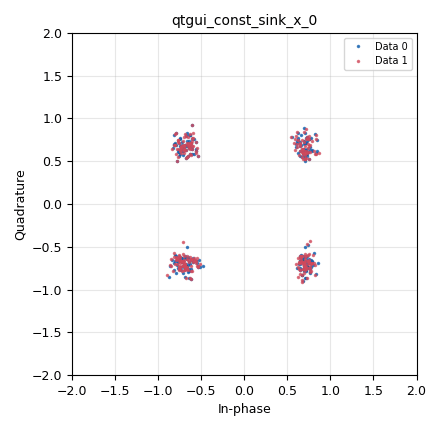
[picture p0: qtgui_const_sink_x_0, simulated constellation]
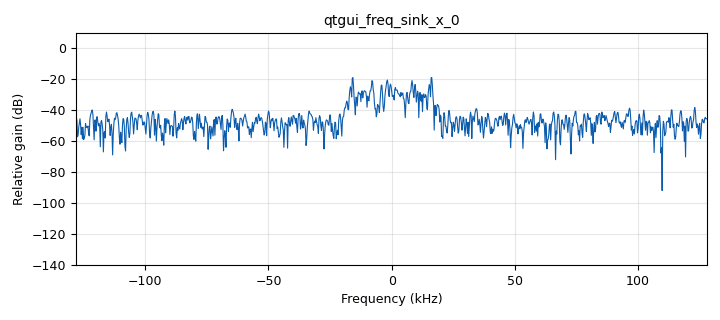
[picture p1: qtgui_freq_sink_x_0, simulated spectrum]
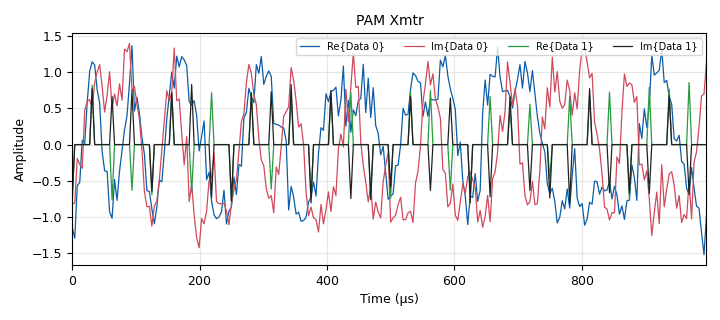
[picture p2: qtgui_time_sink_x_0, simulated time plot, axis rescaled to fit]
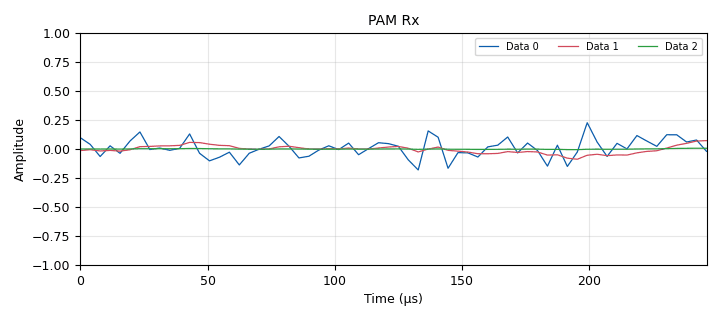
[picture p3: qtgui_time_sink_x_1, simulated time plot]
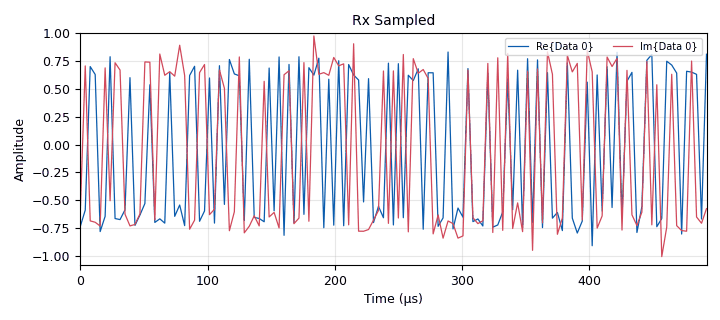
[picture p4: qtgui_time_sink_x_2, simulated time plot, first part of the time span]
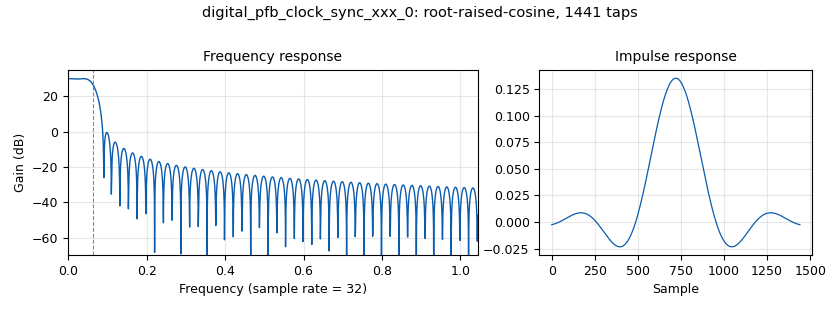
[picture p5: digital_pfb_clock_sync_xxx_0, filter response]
<?xml version='1.0' encoding='utf-8'?>
<?grc format='1' created='3.7.9'?>
<flow_graph>
<block>
<key>options</key>
<param><key>id</key><value>top_block</value></param>
<param><key>category</key><value>Custom</value></param>
<param><key>generate_options</key><value>qt_gui</value></param>
</block>
<block>
<key>variable_qtgui_range</key>
<param><key>id</key><value>An</value></param>
<param><key>value</key><value>0.3</value></param>
<param><key>orient</key><value>Qt.Horizontal</value></param>
<param><key>start</key><value>0</value></param>
<param><key>step</key><value>0.01</value></param>
<param><key>stop</key><value>2</value></param>
</block>
<block>
<key>variable_qtgui_range</key>
<param><key>id</key><value>G</value></param>
<param><key>value</key><value>1</value></param>
<param><key>orient</key><value>Qt.Horizontal</value></param>
<param><key>start</key><value>0</value></param>
<param><key>step</key><value>0.1</value></param>
<param><key>stop</key><value>2</value></param>
</block>
<block>
<key>variable_qtgui_range</key>
<param><key>id</key><value>bit_dly</value></param>
<param><key>value</key><value>104</value></param>
<param><key>orient</key><value>Qt.Horizontal</value></param>
<param><key>start</key><value>0</value></param>
<param><key>step</key><value>1</value></param>
<param><key>stop</key><value>200</value></param>
<param><key>rangeType</key><value>int</value></param>
</block>
<block>
<key>variable_constellation_rect</key>
<param><key>id</key><value>bpsk_const</value></param>
<param><key>const_points</key><value>[-1,1]</value></param>
<param><key>imag_sect</key><value>2</value></param>
<param><key>real_sect</key><value>2</value></param>
<param><key>rot_sym</key><value>2</value></param>
<param><key>sym_map</key><value>[0, 1]</value></param>
<param><key>w_imag_sect</key><value>1</value></param>
<param><key>w_real_sect</key><value>1</value></param>
</block>
<block>
<key>variable_qtgui_range</key>
<param><key>id</key><value>fe</value></param>
<param><key>value</key><value>0</value></param>
<param><key>orient</key><value>Qt.Horizontal</value></param>
<param><key>start</key><value>-10</value></param>
<param><key>step</key><value>0.1</value></param>
<param><key>stop</key><value>10</value></param>
</block>
<block>
<key>variable_constellation_rect</key>
<param><key>id</key><value>qpsk_const</value></param>
<param><key>const_points</key><value>[-1-1j, -1+1j, 1+1j, 1-1j]</value></param>
<param><key>imag_sect</key><value>2</value></param>
<param><key>real_sect</key><value>2</value></param>
<param><key>rot_sym</key><value>4</value></param>
<param><key>sym_map</key><value>[0, 1, 3, 2]</value></param>
<param><key>w_imag_sect</key><value>1</value></param>
<param><key>w_real_sect</key><value>1</value></param>
</block>
<block>
<key>variable</key>
<param><key>id</key><value>samp_rate</value></param>
<param><key>value</key><value>256000</value></param>
</block>
<block>
<key>variable</key>
<param><key>id</key><value>samples_per_symbol</value></param>
<param><key>value</key><value>8</value></param>
</block>
<block>
<key>variable_qtgui_range</key>
<param><key>id</key><value>sym_dly</value></param>
<param><key>value</key><value>3</value></param>
<param><key>orient</key><value>Qt.Horizontal</value></param>
<param><key>start</key><value>0</value></param>
<param><key>step</key><value>1</value></param>
<param><key>stop</key><value>200</value></param>
<param><key>rangeType</key><value>int</value></param>
</block>
<block>
<key>variable_qtgui_chooser</key>
<param><key>id</key><value>theta1</value></param>
<param><key>value</key><value>0</value></param>
<param><key>num_opts</key><value>4</value></param>
<param><key>option0</key><value>-90</value></param>
<param><key>option1</key><value>0</value></param>
<param><key>option2</key><value>90</value></param>
<param><key>option3</key><value>180</value></param>
<param><key>type</key><value>real</value></param>
</block>
<block>
<key>variable_qtgui_range</key>
<param><key>id</key><value>theta2</value></param>
<param><key>value</key><value>0</value></param>
<param><key>orient</key><value>Qt.Horizontal</value></param>
<param><key>start</key><value>-180</value></param>
<param><key>step</key><value>1</value></param>
<param><key>stop</key><value>180</value></param>
</block>
<block>
<key>analog_noise_source_x</key>
<param><key>id</key><value>analog_noise_source_x_0</value></param>
<param><key>amp</key><value>An</value></param>
<param><key>noise_type</key><value>analog.GR_GAUSSIAN</value></param>
<param><key>type</key><value>complex</value></param>
<param><key>seed</key><value>0</value></param>
</block>
<block>
<key>analog_sig_source_x</key>
<param><key>id</key><value>analog_sig_source_x_0</value></param>
<param><key>amp</key><value>1</value></param>
<param><key>freq</key><value>fe</value></param>
<param><key>offset</key><value>0</value></param>
<param><key>type</key><value>complex</value></param>
<param><key>samp_rate</key><value>samp_rate</value></param>
<param><key>waveform</key><value>analog.GR_COS_WAVE</value></param>
</block>
<block>
<key>blocks_add_const_vxx</key>
<param><key>id</key><value>blocks_add_const_vxx_0</value></param>
<param><key>const</key><value>48</value></param>
<param><key>type</key><value>float</value></param>
</block>
<block>
<key>blocks_add_const_vxx</key>
<param><key>id</key><value>blocks_add_const_vxx_0_0</value></param>
<param><key>const</key><value>48</value></param>
<param><key>type</key><value>float</value></param>
</block>
<block>
<key>blocks_add_xx</key>
<param><key>id</key><value>blocks_add_xx_0</value></param>
<param><key>type</key><value>complex</value></param>
</block>
<block>
<key>blocks_add_xx</key>
<param><key>id</key><value>blocks_add_xx_1</value></param>
<param><key>type</key><value>float</value></param>
</block>
<block>
<key>blocks_char_to_float</key>
<param><key>id</key><value>blocks_char_to_float_0_0_0</value></param>
<param><key>scale</key><value>1</value></param>
</block>
<block>
<key>blocks_char_to_float</key>
<param><key>id</key><value>blocks_char_to_float_0_0_0_0</value></param>
<param><key>scale</key><value>1</value></param>
</block>
<block>
<key>blocks_delay</key>
<param><key>id</key><value>blocks_delay_0</value></param>
<param><key>delay</key><value>3</value></param>
<param><key>type</key><value>complex</value></param>
</block>
<block>
<key>blocks_delay</key>
<param><key>id</key><value>blocks_delay_0_0</value></param>
<param><key>delay</key><value>sym_dly</value></param>
<param><key>type</key><value>byte</value></param>
</block>
<block>
<key>blocks_delay</key>
<param><key>id</key><value>blocks_delay_0_0_0</value></param>
<param><key>delay</key><value>bit_dly</value></param>
<param><key>type</key><value>byte</value></param>
</block>
<block>
<key>blocks_file_sink</key>
<param><key>id</key><value>blocks_file_sink_0</value></param>
<param><key>file</key><value>/dev/pts/19</value></param>
<param><key>type</key><value>byte</value></param>
</block>
<block>
<key>blocks_file_sink</key>
<param><key>id</key><value>blocks_file_sink_0_0_0</value></param>
<param><key>file</key><value>/home/dfernandezp/sdr/BitsTx.txt</value></param>
<param><key>type</key><value>byte</value></param>
</block>
<block>
<key>blocks_file_sink</key>
<param><key>id</key><value>blocks_file_sink_0_0_0_0</value></param>
<param><key>file</key><value>/home/dfernandezp/sdr/BitsRx.txt</value></param>
<param><key>type</key><value>byte</value></param>
</block>
<block>
<key>blocks_float_to_uchar</key>
<param><key>id</key><value>blocks_float_to_uchar_0</value></param>
</block>
<block>
<key>blocks_float_to_uchar</key>
<param><key>id</key><value>blocks_float_to_uchar_0_0</value></param>
</block>
<block>
<key>blocks_multiply_const_vxx</key>
<param><key>id</key><value>blocks_multiply_const_vxx_0</value></param>
<param><key>const</key><value>G*numpy.exp(1j*numpy.pi*(theta1+theta2)/180.0)</value></param>
<param><key>type</key><value>complex</value></param>
</block>
<block>
<key>blocks_multiply_const_vxx</key>
<param><key>id</key><value>blocks_multiply_const_vxx_1</value></param>
<param><key>const</key><value>-1</value></param>
<param><key>type</key><value>float</value></param>
</block>
<block>
<key>blocks_multiply_xx</key>
<param><key>id</key><value>blocks_multiply_xx_0</value></param>
<param><key>type</key><value>complex</value></param>
</block>
<block>
<key>blocks_throttle</key>
<param><key>id</key><value>blocks_throttle_0</value></param>
<param><key>samples_per_second</key><value>samp_rate</value></param>
<param><key>type</key><value>complex</value></param>
</block>
<block>
<key>blocks_unpack_k_bits_bb</key>
<param><key>id</key><value>blocks_unpack_k_bits_bb_0</value></param>
<param><key>k</key><value>2</value></param>
</block>
<block>
<key>blocks_unpack_k_bits_bb</key>
<param><key>id</key><value>blocks_unpack_k_bits_bb_0_0</value></param>
<param><key>k</key><value>8</value></param>
</block>
<block>
<key>blocks_unpacked_to_packed_xx</key>
<param><key>id</key><value>blocks_unpacked_to_packed_xx_0</value></param>
<param><key>bits_per_chunk</key><value>2</value></param>
<param><key>endianness</key><value>gr.GR_MSB_FIRST</value></param>
<param><key>type</key><value>byte</value></param>
</block>
<block>
<key>blocks_vector_source_x</key>
<param><key>id</key><value>blocks_vector_source_x_0</value></param>
<param><key>type</key><value>byte</value></param>
<param><key>repeat</key><value>True</value></param>
<param><key>vector</key><value>list(ord(i) for i in 'The quick brown fox 0123456789...')</value></param>
</block>
<block>
<key>digital_constellation_modulator</key>
<param><key>id</key><value>digital_constellation_modulator_0</value></param>
<param><key>constellation</key><value>qpsk_const</value></param>
<param><key>differential</key><value>False</value></param>
<param><key>excess_bw</key><value>0.35</value></param>
<param><key>samples_per_symbol</key><value>samples_per_symbol</value></param>
</block>
<block>
<key>digital_constellation_receiver_cb</key>
<param><key>id</key><value>digital_constellation_receiver_cb_0</value></param>
<param><key>constellation</key><value>qpsk_const</value></param>
<param><key>loop_bw</key><value>0.0625</value></param>
<param><key>fmax</key><value>100</value></param>
<param><key>fmin</key><value>-100</value></param>
<param><key>showports</key><value>True</value></param>
</block>
<block>
<key>digital_map_bb</key>
<param><key>id</key><value>digital_map_bb_0</value></param>
<param><key>map</key><value>[0,1,3,2]</value></param>
</block>
<block>
<key>digital_pfb_clock_sync_xxx</key>
<param><key>id</key><value>digital_pfb_clock_sync_xxx_0</value></param>
<param><key>filter_size</key><value>32</value></param>
<param><key>init_phase</key><value>16</value></param>
<param><key>loop_bw</key><value>0.06</value></param>
<param><key>max_dev</key><value>1.5</value></param>
<param><key>osps</key><value>1</value></param>
<param><key>sps</key><value>samples_per_symbol</value></param>
<param><key>taps</key><value>firdes.root_raised_cosine(32,32,1.0/float(samples_per_symbol),0.35,45*32)</value></param>
<param><key>type</key><value>ccf</value></param>
</block>
<block>
<key>import</key>
<param><key>id</key><value>import_0</value></param>
<param><key>import</key><value>import numpy</value></param>
</block>
<block>
<key>interp_fir_filter_xxx</key>
<param><key>id</key><value>interp_fir_filter_xxx_0</value></param>
<param><key>interp</key><value>8</value></param>
<param><key>taps</key><value>1</value></param>
<param><key>type</key><value>ccc</value></param>
</block>
<block>
<key>qtgui_const_sink_x</key>
<param><key>id</key><value>qtgui_const_sink_x_0</value></param>
<param><key>nconnections</key><value>2</value></param>
<param><key>size</key><value>256</value></param>
<param><key>type</key><value>complex</value></param>
</block>
<block>
<key>qtgui_freq_sink_x</key>
<param><key>id</key><value>qtgui_freq_sink_x_0</value></param>
<param><key>bw</key><value>samp_rate</value></param>
<param><key>fc</key><value>0</value></param>
<param><key>fftsize</key><value>1024</value></param>
<param><key>showports</key><value>True</value></param>
<param><key>type</key><value>complex</value></param>
<param><key>wintype</key><value>firdes.WIN_BLACKMAN_hARRIS</value></param>
</block>
<block>
<key>qtgui_time_sink_x</key>
<param><key>id</key><value>qtgui_time_sink_x_0</value></param>
<param><key>color1</key><value>"blue"</value></param>
<param><key>label1</key><value></value></param>
<param><key>color2</key><value>"red"</value></param>
<param><key>label2</key><value></value></param>
<param><key>color3</key><value>"green"</value></param>
<param><key>label3</key><value></value></param>
<param><key>color4</key><value>"black"</value></param>
<param><key>label4</key><value></value></param>
<param><key>name</key><value>"PAM Xmtr"</value></param>
<param><key>nconnections</key><value>2</value></param>
<param><key>size</key><value>256</value></param>
<param><key>srate</key><value>samp_rate</value></param>
<param><key>type</key><value>complex</value></param>
</block>
<block>
<key>qtgui_time_sink_x</key>
<param><key>id</key><value>qtgui_time_sink_x_1</value></param>
<param><key>color1</key><value>"blue"</value></param>
<param><key>label1</key><value></value></param>
<param><key>color2</key><value>"red"</value></param>
<param><key>label2</key><value></value></param>
<param><key>color3</key><value>"green"</value></param>
<param><key>label3</key><value></value></param>
<param><key>name</key><value>"PAM Rx"</value></param>
<param><key>nconnections</key><value>3</value></param>
<param><key>size</key><value>64</value></param>
<param><key>srate</key><value>samp_rate</value></param>
<param><key>type</key><value>float</value></param>
</block>
<block>
<key>qtgui_time_sink_x</key>
<param><key>id</key><value>qtgui_time_sink_x_2</value></param>
<param><key>color1</key><value>"blue"</value></param>
<param><key>label1</key><value></value></param>
<param><key>color2</key><value>"red"</value></param>
<param><key>label2</key><value></value></param>
<param><key>name</key><value>"Rx Sampled"</value></param>
<param><key>size</key><value>1024</value></param>
<param><key>srate</key><value>samp_rate</value></param>
<param><key>type</key><value>complex</value></param>
</block>
<block>
<key>qtgui_time_sink_x</key>
<param><key>id</key><value>qtgui_time_sink_x_3</value></param>
<param><key>color1</key><value>"blue"</value></param>
<param><key>label1</key><value></value></param>
<param><key>name</key><value>"Rx-Tx"</value></param>
<param><key>size</key><value>1024</value></param>
<param><key>srate</key><value>samp_rate</value></param>
<param><key>type</key><value>float</value></param>
</block>
<connection><source_block_id>analog_noise_source_x_0</source_block_id><sink_block_id>blocks_add_xx_0</sink_block_id><source_key>0</source_key><sink_key>1</sink_key></connection>
<connection><source_block_id>analog_sig_source_x_0</source_block_id><sink_block_id>blocks_multiply_xx_0</sink_block_id><source_key>0</source_key><sink_key>1</sink_key></connection>
<connection><source_block_id>blocks_add_const_vxx_0</source_block_id><sink_block_id>blocks_float_to_uchar_0</sink_block_id><source_key>0</source_key><sink_key>0</sink_key></connection>
<connection><source_block_id>blocks_add_const_vxx_0_0</source_block_id><sink_block_id>blocks_float_to_uchar_0_0</sink_block_id><source_key>0</source_key><sink_key>0</sink_key></connection>
<connection><source_block_id>blocks_add_xx_0</source_block_id><sink_block_id>blocks_multiply_const_vxx_0</sink_block_id><source_key>0</source_key><sink_key>0</sink_key></connection>
<connection><source_block_id>blocks_add_xx_0</source_block_id><sink_block_id>qtgui_freq_sink_x_0</sink_block_id><source_key>0</source_key><sink_key>0</sink_key></connection>
<connection><source_block_id>blocks_add_xx_0</source_block_id><sink_block_id>qtgui_time_sink_x_0</sink_block_id><source_key>0</source_key><sink_key>0</sink_key></connection>
<connection><source_block_id>blocks_add_xx_1</source_block_id><sink_block_id>qtgui_time_sink_x_3</sink_block_id><source_key>0</source_key><sink_key>0</sink_key></connection>
<connection><source_block_id>blocks_char_to_float_0_0_0</source_block_id><sink_block_id>blocks_add_const_vxx_0</sink_block_id><source_key>0</source_key><sink_key>0</sink_key></connection>
<connection><source_block_id>blocks_char_to_float_0_0_0</source_block_id><sink_block_id>blocks_multiply_const_vxx_1</sink_block_id><source_key>0</source_key><sink_key>0</sink_key></connection>
<connection><source_block_id>blocks_char_to_float_0_0_0_0</source_block_id><sink_block_id>blocks_add_const_vxx_0_0</sink_block_id><source_key>0</source_key><sink_key>0</sink_key></connection>
<connection><source_block_id>blocks_char_to_float_0_0_0_0</source_block_id><sink_block_id>blocks_add_xx_1</sink_block_id><source_key>0</source_key><sink_key>0</sink_key></connection>
<connection><source_block_id>blocks_delay_0</source_block_id><sink_block_id>interp_fir_filter_xxx_0</sink_block_id><source_key>0</source_key><sink_key>0</sink_key></connection>
<connection><source_block_id>blocks_delay_0_0</source_block_id><sink_block_id>blocks_unpack_k_bits_bb_0</sink_block_id><source_key>0</source_key><sink_key>0</sink_key></connection>
<connection><source_block_id>blocks_delay_0_0</source_block_id><sink_block_id>blocks_unpacked_to_packed_xx_0</sink_block_id><source_key>0</source_key><sink_key>0</sink_key></connection>
<connection><source_block_id>blocks_delay_0_0_0</source_block_id><sink_block_id>blocks_char_to_float_0_0_0</sink_block_id><source_key>0</source_key><sink_key>0</sink_key></connection>
<connection><source_block_id>blocks_float_to_uchar_0</source_block_id><sink_block_id>blocks_file_sink_0_0_0</sink_block_id><source_key>0</source_key><sink_key>0</sink_key></connection>
<connection><source_block_id>blocks_float_to_uchar_0_0</source_block_id><sink_block_id>blocks_file_sink_0_0_0_0</sink_block_id><source_key>0</source_key><sink_key>0</sink_key></connection>
<connection><source_block_id>blocks_multiply_const_vxx_0</source_block_id><sink_block_id>blocks_multiply_xx_0</sink_block_id><source_key>0</source_key><sink_key>0</sink_key></connection>
<connection><source_block_id>blocks_multiply_const_vxx_1</source_block_id><sink_block_id>blocks_add_xx_1</sink_block_id><source_key>0</source_key><sink_key>1</sink_key></connection>
<connection><source_block_id>blocks_multiply_xx_0</source_block_id><sink_block_id>digital_pfb_clock_sync_xxx_0</sink_block_id><source_key>0</source_key><sink_key>0</sink_key></connection>
<connection><source_block_id>blocks_throttle_0</source_block_id><sink_block_id>blocks_add_xx_0</sink_block_id><source_key>0</source_key><sink_key>0</sink_key></connection>
<connection><source_block_id>blocks_unpack_k_bits_bb_0</source_block_id><sink_block_id>blocks_char_to_float_0_0_0_0</sink_block_id><source_key>0</source_key><sink_key>0</sink_key></connection>
<connection><source_block_id>blocks_unpack_k_bits_bb_0_0</source_block_id><sink_block_id>blocks_delay_0_0_0</sink_block_id><source_key>0</source_key><sink_key>0</sink_key></connection>
<connection><source_block_id>blocks_unpacked_to_packed_xx_0</source_block_id><sink_block_id>blocks_file_sink_0</sink_block_id><source_key>0</source_key><sink_key>0</sink_key></connection>
<connection><source_block_id>blocks_vector_source_x_0</source_block_id><sink_block_id>blocks_unpack_k_bits_bb_0_0</sink_block_id><source_key>0</source_key><sink_key>0</sink_key></connection>
<connection><source_block_id>blocks_vector_source_x_0</source_block_id><sink_block_id>digital_constellation_modulator_0</sink_block_id><source_key>0</source_key><sink_key>0</sink_key></connection>
<connection><source_block_id>digital_constellation_modulator_0</source_block_id><sink_block_id>blocks_throttle_0</sink_block_id><source_key>0</source_key><sink_key>0</sink_key></connection>
<connection><source_block_id>digital_constellation_receiver_cb_0</source_block_id><sink_block_id>qtgui_time_sink_x_1</sink_block_id><source_key>1</source_key><sink_key>0</sink_key></connection>
<connection><source_block_id>digital_constellation_receiver_cb_0</source_block_id><sink_block_id>qtgui_time_sink_x_1</sink_block_id><source_key>3</source_key><sink_key>2</sink_key></connection>
<connection><source_block_id>digital_constellation_receiver_cb_0</source_block_id><sink_block_id>digital_map_bb_0</sink_block_id><source_key>0</source_key><sink_key>0</sink_key></connection>
<connection><source_block_id>digital_constellation_receiver_cb_0</source_block_id><sink_block_id>qtgui_time_sink_x_1</sink_block_id><source_key>2</source_key><sink_key>1</sink_key></connection>
<connection><source_block_id>digital_constellation_receiver_cb_0</source_block_id><sink_block_id>qtgui_const_sink_x_0</sink_block_id><source_key>4</source_key><sink_key>1</sink_key></connection>
<connection><source_block_id>digital_map_bb_0</source_block_id><sink_block_id>blocks_delay_0_0</sink_block_id><source_key>0</source_key><sink_key>0</sink_key></connection>
<connection><source_block_id>digital_pfb_clock_sync_xxx_0</source_block_id><sink_block_id>blocks_delay_0</sink_block_id><source_key>0</source_key><sink_key>0</sink_key></connection>
<connection><source_block_id>digital_pfb_clock_sync_xxx_0</source_block_id><sink_block_id>digital_constellation_receiver_cb_0</sink_block_id><source_key>0</source_key><sink_key>0</sink_key></connection>
<connection><source_block_id>digital_pfb_clock_sync_xxx_0</source_block_id><sink_block_id>qtgui_const_sink_x_0</sink_block_id><source_key>0</source_key><sink_key>0</sink_key></connection>
<connection><source_block_id>digital_pfb_clock_sync_xxx_0</source_block_id><sink_block_id>qtgui_time_sink_x_2</sink_block_id><source_key>0</source_key><sink_key>0</sink_key></connection>
<connection><source_block_id>interp_fir_filter_xxx_0</source_block_id><sink_block_id>qtgui_time_sink_x_0</sink_block_id><source_key>0</source_key><sink_key>1</sink_key></connection>
</flow_graph>
